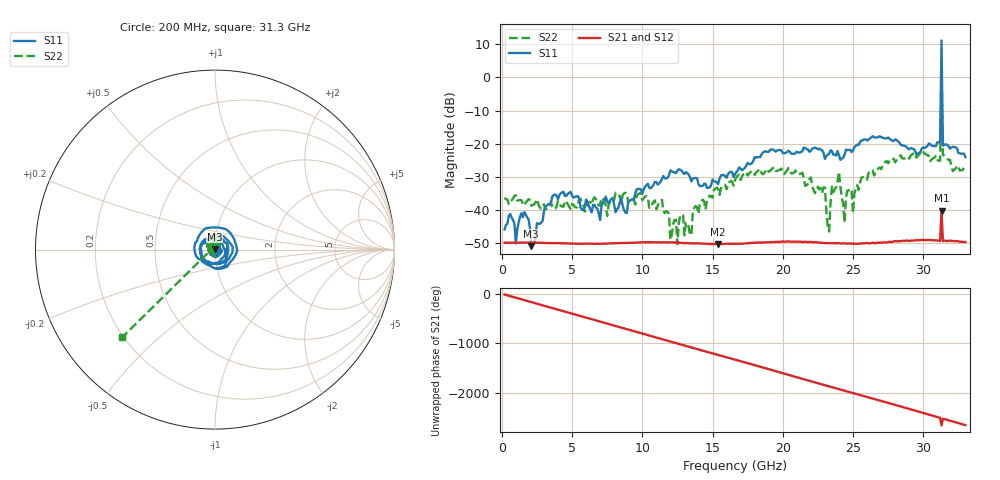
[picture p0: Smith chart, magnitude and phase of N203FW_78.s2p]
# GHZ S RI R 50
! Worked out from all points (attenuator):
!   329 points, 200 MHz to 33 GHz, reference 50 ohm
!   highest |S21| = -40.27 dB at 31.3 GHz (marker M1); lowest = -50.4 dB at 15.4 GHz (marker M2)
!   lowest |S11| = -51.0 dB at 2.1 GHz (marker M3), VSWR 1.01, Z = 50 + j0.281 ohm
!   |S11| at or under -10 dB: start of sweep to 31.23 GHz; 31.37 GHz to end of sweep
!   |S22| runs from -50.4 to -3.0 dB; largest |S21 - S12| = 0.00014
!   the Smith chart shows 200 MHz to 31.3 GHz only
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0.2  0.00501 -0.000733  0.00306 -0.000894  0.00307 -0.000888  -0.015 0.00294
1.6  -0.00877 -0.00288  -0.00201 -0.00249  -0.00201 -0.0025  -0.00549 0.0103
2.1  -0.000266 0.00282  -0.00314 -0.000593  -0.00314 -0.000595  0.000972 0.0115
3.7  -0.00843 -0.0145  0.00149 0.00276  0.00148 0.00278  0.0095 0.00413
5.7  0.00487 0.00885  -0.000407 -0.00305  -0.000423 -0.00305  0.0055 -0.0116
11.2  0.00942 0.0233  -0.00323 -3.91e-05  -0.00324 -4.4e-05  -0.0116 0.00585
12.5  0.0178 -0.0349  0.000837 0.00308  0.000845 0.00308  -0.00278 0.00121
15.4  0.00821 -0.023  -0.00277 -0.00123  -0.00277 -0.00123  -0.0206 0.00196
16.6  -0.0299 0.0173  -0.000997 0.00291  -0.00099 0.00291  -0.0284 0.00277
22.1  -0.03 -0.0787  0.00297 0.00134  0.00298 0.00134  0.0207 0.00922
23  -0.0481 0.034  0.0021 -0.00233  0.00211 -0.00234  0.0198 -0.00893
23.3  -0.0308 0.0637  0.00097 -0.00299  0.000979 -0.00299  0.00407 0.0024
23.5  0.0191 0.075  0.000144 -0.00314  0.000132 -0.00315  0.0224 0.00131
24  0.0663 0.00327  -0.00192 -0.0025  -0.00191 -0.00249  -0.00436 -0.0373
24.4  0.0628 -0.0267  -0.00291 -0.00109  -0.00294 -0.0011  -0.00517 -0.00385
24.6  0.043 -0.0674  -0.00306 -0.000241  -0.00309 -0.000259  -0.0148 -0.0127
25  -0.0092 -0.0782  -0.00277 0.0014  -0.00275 0.00138  -0.008 -0.004
27.6  0.1146 -0.0302  0.00199 -0.00262  0.00203 -0.00259  -0.0412 0.0367
31.2  0.00969 -0.1043  0.00329 0.000776  0.00331 0.000772  0.0282 0.0479
31.3  3.625 -0.1453  -0.00747 -0.00619  -0.00738 -0.00608  -0.5154 -0.4868
31.4  -0.0313 -0.0883  0.00336 -0.00017  0.0034 -0.000171  0.0357 0.0567
33  0.0227 0.0583  -0.0022 -0.00241  -0.0022 -0.00239  0.0388 0.0117
